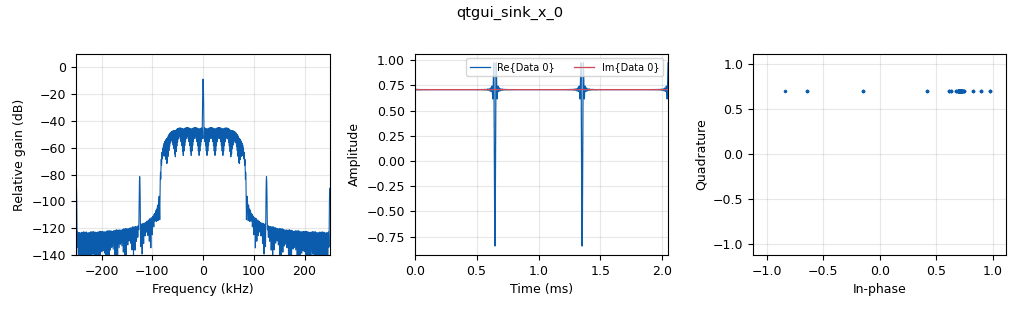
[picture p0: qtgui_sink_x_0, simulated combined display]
options:
  parameters:
    category: Custom
    generate_options: qt_gui
    id: mpsk_stage6
    output_language: python
  states: {}

blocks:
- name: excess_bw
  id: variable
  parameters:
    value: '0.35'
  states: {}
- name: qpsk
  id: variable_constellation_rect
  parameters:
    const_points: '[0.707+0.707j, -0.707+0.707j, -0.707-0.707j, 0.707-0.707j]'
    imag_sect: '2'
    real_sect: '2'
    rot_sym: '4'
    sym_map: '[0, 1, 2, 3]'
    w_imag_sect: '1'
    w_real_sect: '1'
  states: {}
- name: rf_freq
  id: variable
  parameters:
    value: 2500e6
  states: {}
- name: rf_gain
  id: variable_qtgui_range
  parameters:
    start: '0'
    step: '1'
    stop: '100'
    value: '0'
  states: {}
- name: samp_rate
  id: variable
  parameters:
    value: 500e3
  states: {}
- name: sps
  id: variable
  parameters:
    value: '4'
  states: {}
- name: analog_const_source_x_0
  id: analog_const_source_x
  parameters:
    const: '1'
    type: byte
  states: {state: disabled}
- name: analog_random_source_x_0
  id: analog_random_source_x
  parameters:
    max: '255'
    min: '0'
    num_samps: '1000'
    repeat: 'True'
    type: byte
  states: {state: disabled}
- name: bladeRF_sink_0
  id: bladeRF_sink
  parameters:
    bias_tee0: 'True'
    bias_tee1: 'False'
    bw: samp_rate*sps
    dac: '10000'
    dc_calibration: LPF_TUNING
    device_id: '0'
    fpga_image: ''
    fpga_reload: 'False'
    freq: rf_freq
    gain0: rf_gain
    gain1: '10'
    if_gain0: '0'
    if_gain1: '20'
    in_clk: ONBOARD
    lpf_mode: disabled
    metadata: 'False'
    nchan: '1'
    out_clk: 'False'
    ref_clk: 10e6
    sample_rate: samp_rate*sps
    sampling: internal
    show_pmic: 'False'
    smb: '0'
    tamer: internal
    trigger0: 'False'
    trigger1: 'False'
    trigger_role0: master
    trigger_role1: master
    trigger_signal0: J51_1
    trigger_signal1: J51_1
    use_dac: 'False'
    use_ref_clk: 'False'
    verbosity: verbose
    xb200: none
  states: {}
- name: blocks_message_debug_0
  id: blocks_message_debug
  parameters: {}
  states: {}
- name: blocks_probe_rate_0
  id: blocks_probe_rate
  parameters:
    alpha: '0.15'
    mintime: '5000'
    type: byte
  states: {state: disabled}
- name: blocks_probe_rate_0_0
  id: blocks_probe_rate
  parameters:
    alpha: '0.15'
    mintime: '5000'
    type: byte
  states: {state: disabled}
- name: blocks_throttle_0
  id: blocks_throttle
  parameters:
    samples_per_second: samp_rate*sps
    type: complex
  states: {state: disabled}
- name: blocks_vector_source_x_0
  id: blocks_vector_source_x
  parameters:
    repeat: 'True'
    type: byte
    vector: (1,1,1,1,1,1,1,1,1,1,1)
  states: {state: disabled}
- name: blocks_vector_source_x_0_0
  id: blocks_vector_source_x
  parameters:
    repeat: 'True'
    type: byte
    vector: 20*[0,]+[1,]+[0]
  states: {}
- name: digital_constellation_modulator_0
  id: digital_constellation_modulator
  parameters:
    constellation: qpsk
    differential: 'False'
    excess_bw: excess_bw
    samples_per_symbol: sps
  states: {}
- name: qtgui_sink_x_0
  id: qtgui_sink_x
  parameters:
    bw: samp_rate
    fc: '0'
    fftsize: '1024'
    type: complex
  states: {}
- name: virtual_sink_0
  id: virtual_sink
  parameters: {}
  states: {state: disabled}

connections:
- [analog_const_source_x_0, '0', blocks_probe_rate_0_0, '0']
- [analog_const_source_x_0, '0', digital_constellation_modulator_0, '0']
- [analog_random_source_x_0, '0', blocks_probe_rate_0_0, '0']
- [analog_random_source_x_0, '0', digital_constellation_modulator_0, '0']
- [blocks_probe_rate_0, rate, blocks_message_debug_0, print]
- [blocks_probe_rate_0_0, rate, blocks_message_debug_0, print]
- [blocks_throttle_0, '0', virtual_sink_0, '0']
- [blocks_vector_source_x_0, '0', blocks_probe_rate_0_0, '0']
- [blocks_vector_source_x_0, '0', digital_constellation_modulator_0, '0']
- [blocks_vector_source_x_0_0, '0', blocks_probe_rate_0, '0']
- [blocks_vector_source_x_0_0, '0', blocks_probe_rate_0_0, '0']
- [blocks_vector_source_x_0_0, '0', digital_constellation_modulator_0, '0']
- [digital_constellation_modulator_0, '0', bladeRF_sink_0, '0']
- [digital_constellation_modulator_0, '0', blocks_throttle_0, '0']
- [digital_constellation_modulator_0, '0', qtgui_sink_x_0, '0']

metadata:
  file_format: 1
  grc_version: 3.10.5.1
